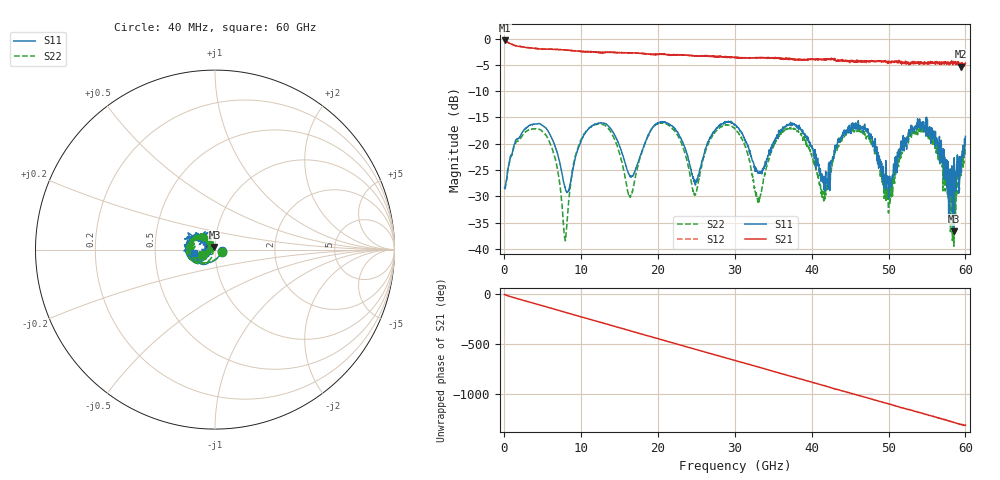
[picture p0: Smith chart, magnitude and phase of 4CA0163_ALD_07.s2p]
! File created by 'SoftPlot +Plus+ Measurement Management Software'
! SoftPlot +Plus+ Measurement Management Software
! Start 40.000000 MHz  Stop 60.000000 GHz  Points 1601
# MHZ S RI R 50
! S-Parameter data, F S11 S21 S12 S22
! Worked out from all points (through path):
!   1601 points, 40 MHz to 60 GHz, reference 50 ohm
!   highest |S21| = -0.36 dB at 40 MHz (marker M1); lowest = -5.3 dB at 59.48 GHz (marker M2)
!   group delay of S21, straight-line fit = 61 ps
!   lowest |S11| = -36.6 dB at 58.46 GHz (marker M3), VSWR 1.03, Z = 49.7 + j1.44 ohm
!   |S11| at or under -10 dB: start of sweep to end of sweep
!   |S22| runs from -39.5 to -16.0 dB; largest |S21 - S12| = 0.065
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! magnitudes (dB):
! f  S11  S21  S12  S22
! 40 MHz  -28.3  -0.4  -0.4  -28.3
! 4.799 GHz  -16.3  -2.0  -2.0  -17.5
! 6.636 GHz  -20.6  -2.0  -2.1  -22.9
! 7.947 GHz  -28.5  -2.2  -2.2  -38.4
! 10.05 GHz  -19.3  -2.5  -2.4  -19.0
! 13.49 GHz  -16.6  -2.6  -2.6  -17.0
! 16.38 GHz  -26.2  -2.7  -2.7  -30.0
! 20.05 GHz  -16.0  -3.0  -3.0  -16.1
! 24.77 GHz  -27.4  -3.3  -3.2  -29.7
! 27.1 GHz  -18.1  -3.4  -3.3  -18.5
! 30.02 GHz  -16.4  -3.6  -3.5  -17.1
! 33.02 GHz  -25.6  -3.6  -3.6  -30.5
! 36.43 GHz  -16.8  -3.9  -3.8  -17.5
! 40.03 GHz  -20.8  -3.9  -3.9  -22.5
! 41.56 GHz  -26.8  -3.9  -3.9  -30.9
! 43.85 GHz  -18.7  -4.2  -4.2  -19.1
! 46.55 GHz  -16.9  -4.5  -4.3  -17.8
! 50.03 GHz  -30.2  -4.5  -4.4  -28.8
! 54.34 GHz  -15.9  -4.8  -4.7  -17.5
! 58.46 GHz  -36.6  -4.6  -4.4  -31.9
! 59.48 GHz  -25.5  -5.3  -4.8  -24.2
! 60 GHz  -18.6  -4.7  -5.0  -22.1
